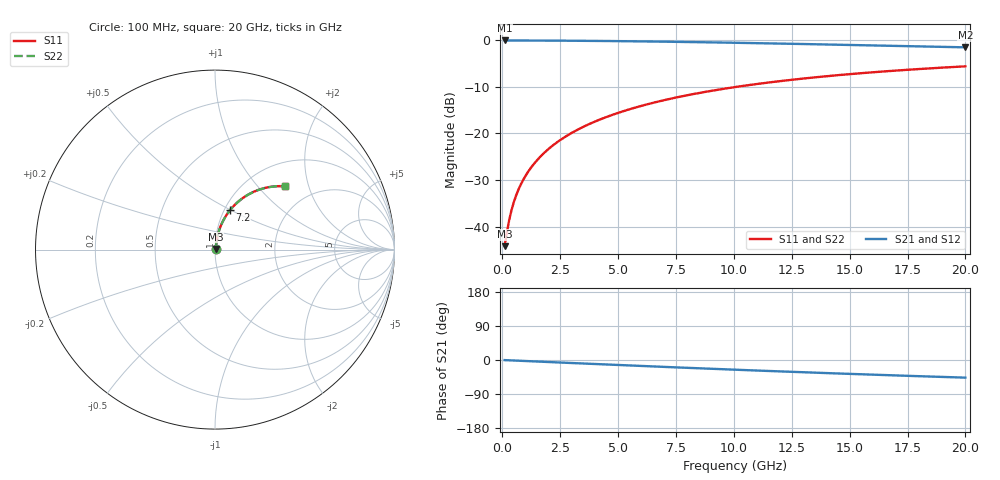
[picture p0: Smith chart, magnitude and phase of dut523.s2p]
! Touchstone file exported from HFSS 2026.1.0
!  File:  C:/ffzhzh/LocalFiles/Ansys_Project_Files/temp_train_TMRDL_523_1783007157_4048.aedt
!  Generated:  11:47:17 PM Jul  2, 2026
!  Design:  TMRDL
!  Project:  temp_train_TMRDL_523_1783007157_4048
! Variables:
!  h_bsmrdl = 2um
!  h_ox = 20um
!  h_rdl = 5um
!  h_sub = 80um
!  h_tmrdl = 2.69um
!  h_tsv = 80um
!  h_via = 3um
!  l_bsmrdl = 300um
!  l_sub = 993.65um
!  l_tmrdl = 593.65um
!  m_sub = 200um
!  pitch = 59.79um
!  r_tsv = 6um
!  s_tmrdl = 10um
!  w_bsmrdl = 18um
!  w_sub = 500um
!  w_tmrdl = 15.98um
!  x_tsv_center1 = 601.64um
!  x_tsv_center2 = 919.64um
!  x_tsv_center3 = 1529.27um
!  x_tsv_center4 = 1847.27um
!  x_tsv_center5 = 2456.9um
!  x_tsv_center6 = 2774.9um
# GHz S MA R 50.000000
! Terminal data exported
! Port[1] = TM_RDL1_1_T1
! Port[2] = TM_RDL1_1_T2
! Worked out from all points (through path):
!   200 points, 100 MHz to 20 GHz, reference 50 ohm
!   highest |S21| = -0.04 dB at 100 MHz (marker M1); lowest = -1.5 dB at 20 GHz (marker M2)
!   group delay of S21, straight-line fit = 6.49 ps
!   lowest |S11| = -44.2 dB at 100 MHz (marker M3), VSWR 1.01, Z = 50.5 + j0.359 ohm
!   |S11| at or under -10 dB: start of sweep to 10.12 GHz
!   |S22| runs from -44.2 to -5.6 dB; largest |S21 - S12| = 3.1e-15
!   S11 on the Smith chart (normalised r, x): 100 MHz: 1.01, +0.01; 7.2 GHz: 1.06, +0.49; 20 GHz: 1.45, +1.42
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0.1  0.00617 35.1  0.995 -0.3  0.995 -0.3  0.00617 35.1
! Gamma 0 0 0 0
! Port Impedance 50 0 50 0
0.2  0.008767 53.9  0.9949 -0.6  0.9949 -0.6  0.008767 53.9
0.3  0.01185 63.1  0.9947 -0.8  0.9947 -0.8  0.01185 63.1
0.4  0.0151 68.2  0.9946 -1.1  0.9946 -1.1  0.0151 68.2
0.5  0.01839 71.4  0.9944 -1.4  0.9944 -1.4  0.01839 71.4
0.6  0.0217 73.5  0.9942 -1.6  0.9942 -1.6  0.0217 73.5
0.8  0.02834 76.1  0.9939 -2.2  0.9939 -2.2  0.02834 76.1
1.1  0.0383 78.1  0.9933 -3.0  0.9933 -3.0  0.0383 78.1
1.5  0.0516 79.1  0.9925 -4.0  0.9925 -4.0  0.0516 79.1
1.8  0.06158 79.4  0.9919 -4.8  0.9919 -4.8  0.06158 79.3
2.1  0.07155 79.3  0.9911 -5.6  0.9911 -5.6  0.07156 79.3
2.7  0.09145 78.7  0.9893 -7.2  0.9893 -7.2  0.09145 78.7
3.5  0.1178 77.4  0.9863 -9.3  0.9863 -9.3  0.1178 77.4
4.2  0.1405 76.1  0.9831 -11.1  0.9831 -11.1  0.1405 76.0
5  0.1661 74.3  0.9788 -13.2  0.9788 -13.2  0.1661 74.3
6.8  0.2219 70.2  0.9671 -17.7  0.9671 -17.7  0.2219 70.2
7.2  0.2339 69.3  0.9641 -18.7  0.9641 -18.7  0.2339 69.2
8.6  0.2745 66.0  0.9528 -22.2  0.9528 -22.2  0.2745 66.0
10.1  0.3158 62.6  0.9394 -25.7  0.9394 -25.7  0.3158 62.5
13.4  0.3976 55.3  0.907 -33.2  0.907 -33.2  0.3976 55.2
16.7  0.467 48.5  0.8729 -40.2  0.8729 -40.2  0.467 48.4
20  0.5249 42.2  0.8393 -46.6  0.8393 -46.6  0.5249 42.1
